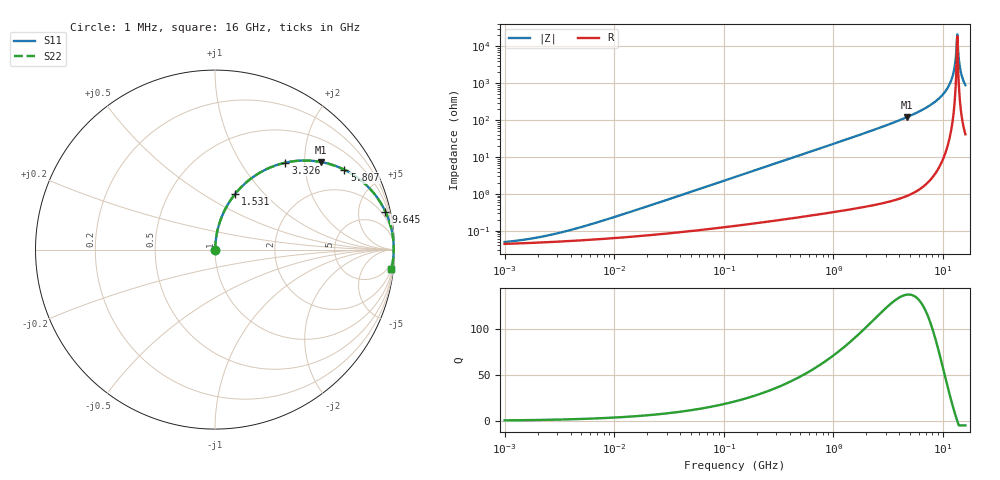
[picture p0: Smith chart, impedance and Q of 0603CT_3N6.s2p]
# MHz  S  MA  R  50
!Freq  MagS11  AngS11  MagS21  AngS21  MagS12  AngS12  MagS22  AngS22
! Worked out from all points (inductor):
!   974 points, 1 MHz to 16 GHz, reference 50 ohm
!   read as one part in series: L = 3.6 nH near 8.001 MHz
!   highest Q = 137 at 4.665 GHz (marker M1), where L = 4.09 nH
!   self-resonance near 13.39 GHz
!   S11 on the Smith chart (normalised r, x): 1 MHz: 1.00, +0.00; 1.531 GHz: 1.01, +0.70; 3.326 GHz: 1.01, +1.60; 5.807 GHz: 1.02, +3.22; 9.645 GHz: 1.14, +8.93; 16 GHz: 2, -18
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1  0.0004936 27.2  0.9996 -0.0  0.9996 -0.0  0.0004936 27.2
2.194768  0.0006915 45.8  0.9995 -0.0  0.9995 -0.0  0.0006915 45.8
5.06272  0.00127 64.3  0.9994 -0.1  0.9994 -0.1  0.00127 64.3
25.37736  0.005791 81.8  0.9992 -0.3  0.9992 -0.3  0.005791 81.8
127.2064  0.02876 85.7  0.9982 -1.6  0.9982 -1.6  0.02876 85.7
637.6342  0.1427 80.8  0.9872 -8.2  0.9872 -8.2  0.1427 80.8
1530.567  0.3298 70.1  0.9404 -19.3  0.9404 -19.3  0.3298 70.1
3196.201  0.6058 52.3  0.7908 -37.3  0.7908 -37.3  0.6058 52.3
3325.98  0.6228 51.0  0.7775 -38.5  0.7775 -38.5  0.6228 51.0
4664.943  0.7651 39.7  0.6383 -49.9  0.6383 -49.9  0.7651 39.7
5806.529  0.847 31.7  0.5253 -57.9  0.5253 -57.9  0.847 31.7
7748.835  0.9312 20.8  0.3558 -68.6  0.3558 -68.6  0.9312 20.8
9645.098  0.9727 12.6  0.2177 -76.5  0.2177 -76.5  0.9727 12.6
10868.34  0.9865 8.1  0.1406 -80.5  0.1406 -80.5  0.9865 8.1
11886.54  0.9929 4.7  0.08241 -82.7  0.08241 -82.7  0.9929 4.7
12492.87  0.9949 2.9  0.05002 -82.7  0.05002 -82.7  0.9949 2.9
13130.14  0.9958 1.0  0.01786 -75.7  0.01786 -75.7  0.9958 1.0
13394.05  0.9958 0.3  0.00606 -46.1  0.00606 -46.1  0.9958 0.3
13799.9  0.9956 -0.9  0.01571 73.2  0.01571 73.2  0.9956 -0.9
14360.24  0.9946 -2.4  0.04131 81.4  0.04131 81.4  0.9946 -2.4
14795.37  0.9935 -3.5  0.0607 82.1  0.0607 82.1  0.9935 -3.5
16000  0.9886 -6.4  0.1115 80.9  0.1115 80.9  0.9886 -6.4
